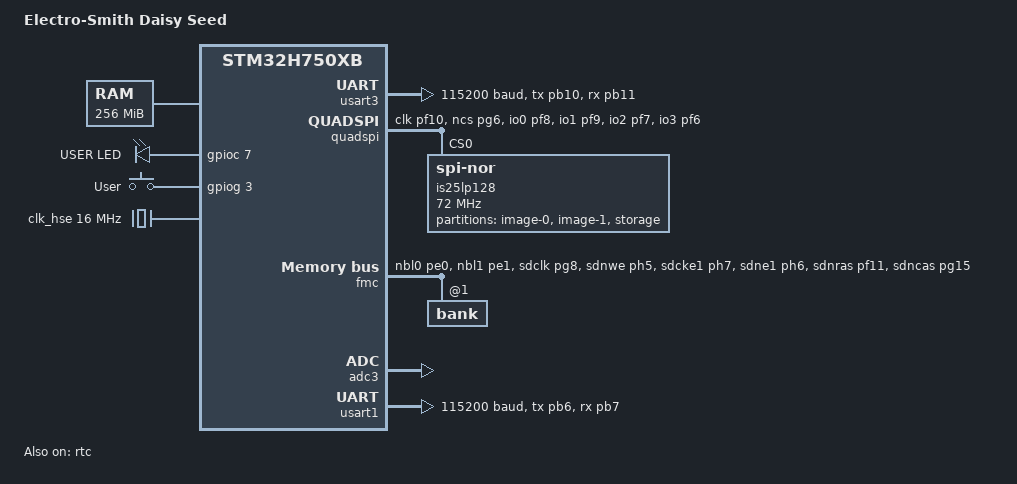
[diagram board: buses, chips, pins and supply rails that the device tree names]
/*
 * Copyright (c) 2023-2024 STMicroelectronics
 *
 * SPDX-License-Identifier: Apache-2.0
 */

/dts-v1/;
#include <st/h7/stm32h750Xb.dtsi>
#include <st/h7/stm32h750xbhx-pinctrl.dtsi>
#include <zephyr/dt-bindings/input/input-event-codes.h>

/ {
	model = "Electro-Smith Daisy Seed";
	compatible = "electro-smith,daisy_seed";

	chosen {
		zephyr,console = &usart3;
		zephyr,shell-uart = &usart3;
		zephyr,sram = &sram0;
		zephyr,flash = &flash0;
		zephyr,flash-controller = &is25lp128;
		zephyr,display = &ltdc;
		zephyr,code-partition = &slot0_partition;
	};

	sdram2: sdram@d0000000 {
		compatible = "zephyr,memory-region", "mmio-sram";
		device_type = "memory";
		reg = <0xd0000000 DT_SIZE_M(16)>; /* 128Mbit */
		zephyr,memory-region = "SDRAM2";
		zephyr,memory-attr = <( DT_MEM_ARM(ATTR_MPU_RAM) )>;
	};

	ext_memory: memory@90000000 {
		compatible = "zephyr,memory-region";
		reg = <0x90000000 DT_SIZE_M(256)>; /* max addressable area */
		zephyr,memory-region = "EXTMEM";
		/* The ATTR_MPU_EXTMEM attribut causing a MPU FAULT */
		zephyr,memory-attr = <( DT_MEM_ARM(ATTR_MPU_IO) )>;
	};

	leds {
		compatible = "gpio-leds";
		red_led: led_0 {
			gpios = <&gpioc 7 GPIO_ACTIVE_HIGH>;
			label = "USER LED";
		};
	};

	gpio_keys {
		compatible = "gpio-keys";

		user_button: button {
			label = "User";
			gpios = <&gpiog 3 GPIO_ACTIVE_HIGH>;
			zephyr,code = <INPUT_KEY_0>;
		};
	};

	aliases {
		led0 = &red_led;
		sw0 = &user_button;
	};
};

&clk_hse {
	clock-frequency = <DT_FREQ_M(16)>;
	status = "okay";
};

&clk_lse {
	status = "disabled";
};

&flash0 {
	partitions {
		compatible = "fixed-partitions";
		#address-cells = <1>;
		#size-cells = <1>;

		/* Flash has 128KB sector size */
		boot_partition: partition@0 {
			label = "mcuboot";
			reg = <0x00000000 DT_SIZE_K(128)>;
		};
	};
};

&pll {
	div-m = <2>;
	mul-n = <120>;
	div-p = <2>;
	div-q = <4>;
	div-r = <4>;
	clocks = <&clk_hse>;
	status = "okay";
};

&pll3 {
	div-m = <5>;
	mul-n = <192>;
	div-p = <2>;
	div-q = <20>;
	div-r = <99>;
	clocks = <&clk_hse>;
	status = "okay";
};

&rcc {
	clocks = <&pll>;
	clock-frequency = <DT_FREQ_M(480)>;
	d1cpre = <1>;
	hpre = <2>;
	d1ppre = <2>;
	d2ppre1 = <2>;
	d2ppre2 = <2>;
	d3ppre = <2>;
};


&usart3 {
	pinctrl-0 = <&usart3_tx_pb10 &usart3_rx_pb11>;
	pinctrl-names = "default";
	current-speed = <115200>;
	status = "okay";
};

&quadspi {
	pinctrl-names = "default";
	pinctrl-0 = <
		&quadspi_clk_pf10      // SCK  - PF10
		&quadspi_bk1_ncs_pg6   // NCS  - PG6
		&quadspi_bk1_io0_pf8   // IO0  - PF8
		&quadspi_bk1_io1_pf9   // IO1  - PF9
		&quadspi_bk1_io2_pf7   // IO2  - PF7
		&quadspi_bk1_io3_pf6   // IO3  - PF6
	>;
	status = "okay";

	is25lp128: qspi-nor-flash@0 {
		compatible = "jedec,spi-nor";
		reg = <0>;
		size = <DT_SIZE_M(128)>; /* 128 Mbits = 16 MB */
		spi-max-frequency = <72000000>;
		spi-bus-width = <4>;
		status = "okay";

		partitions {
			compatible = "fixed-partitions";
			#address-cells = <1>;
			#size-cells = <1>;

			slot0_partition: partition@0 {
				label = "image-0";
				reg = <0x00000000 DT_SIZE_K(2048)>;
			};

			slot1_partition: partition@200000 {
				label = "image-1";
				reg = <0x00200000 DT_SIZE_K(2048)>;
			};

			storage_partition: partition@400000 {
				label = "storage";
				reg = <0x00400000 DT_SIZE_K(128)>;
			};
		};
	};
};

&fmc {
	pinctrl-0 = <&fmc_nbl0_pe0 &fmc_nbl1_pe1
		&fmc_sdclk_pg8 &fmc_sdnwe_ph5 &fmc_sdcke1_ph7
		&fmc_sdne1_ph6 &fmc_sdnras_pf11 &fmc_sdncas_pg15
		&fmc_a0_pf0 &fmc_a1_pf1 &fmc_a2_pf2 &fmc_a3_pf3 &fmc_a4_pf4
		&fmc_a5_pf5 &fmc_a6_pf12 &fmc_a7_pf13 &fmc_a8_pf14
		&fmc_a9_pf15 &fmc_a10_pg0 &fmc_a11_pg1
		&fmc_a14_pg4 &fmc_a15_pg5 &fmc_d0_pd14 &fmc_d1_pd15
		&fmc_d2_pd0 &fmc_d3_pd1 &fmc_d4_pe7 &fmc_d5_pe8 &fmc_d6_pe9
		&fmc_d7_pe10 &fmc_d8_pe11 &fmc_d9_pe12 &fmc_d10_pe13
		&fmc_d11_pe14 &fmc_d12_pe15 &fmc_d13_pd8 &fmc_d14_pd9
		&fmc_d15_pd10>;
	pinctrl-names = "default";
	status = "okay";

	sdram {
		status = "okay";
		power-up-delay = <100>;
		num-auto-refresh = <8>;
		mode-register = <0x230>;
		refresh-rate = <0x603>;

		bank@1 {
			reg = <1>;
			st,sdram-control = <STM32_FMC_SDRAM_NC_8
				STM32_FMC_SDRAM_NR_12
				STM32_FMC_SDRAM_MWID_16
				STM32_FMC_SDRAM_NB_4
				STM32_FMC_SDRAM_CAS_3
				STM32_FMC_SDRAM_SDCLK_PERIOD_2
				STM32_FMC_SDRAM_RBURST_ENABLE
				STM32_FMC_SDRAM_RPIPE_1>;
			st,sdram-timing = <2 7 4 7 2 2 2>;
		};
	};
};

&rtc {
	clocks = <&rcc STM32_CLOCK_BUS_APB4 0x00010000>,
		 <&rcc STM32_SRC_LSE RTC_SEL(1)>;
	status = "okay";
};

&adc3 {
	st,adc-clock-source = "SYNC";
	st,adc-prescaler = <4>;
	status = "okay";
};

/* Arduino Header pins: Tx:D1, Rx:D0 */
/* LPUART1 can also be used with this pins */
&usart1 {
	dma-names = "tx", "rx";
	pinctrl-0 = <&usart1_tx_pb6 &usart1_rx_pb7>;
	pinctrl-names = "default";
	current-speed = <115200>;
	status = "okay";
};
